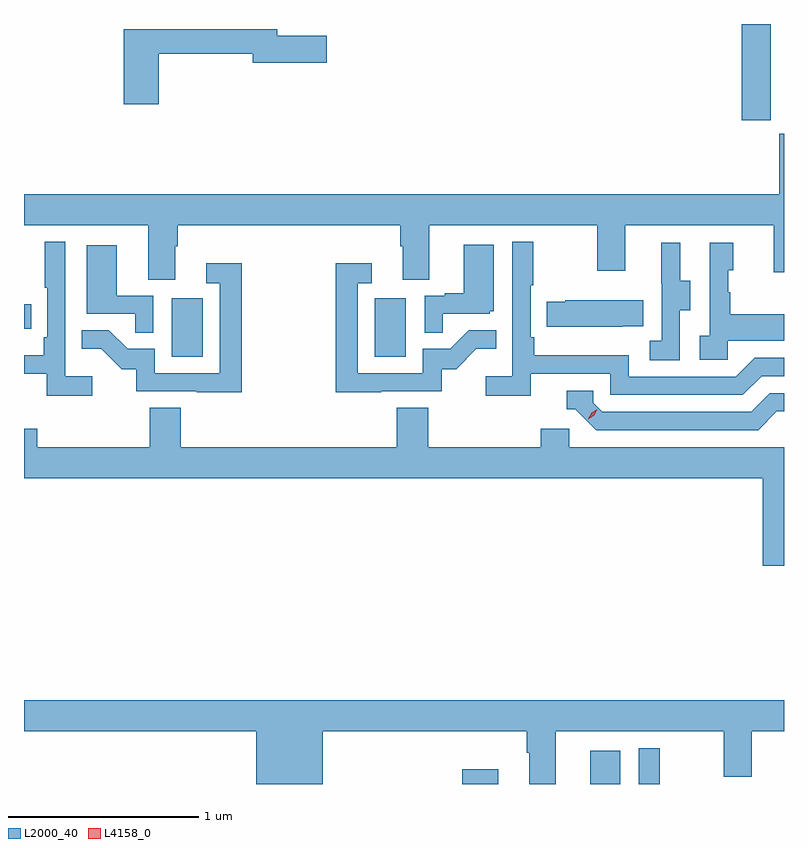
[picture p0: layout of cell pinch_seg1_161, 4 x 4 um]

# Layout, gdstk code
import gdstk
lib = gdstk.Library(unit=1e-6, precision=1e-09)
def R(c, l, rs):  # rectangles x0, y0, x1, y1
    for r in rs: c.add(gdstk.rectangle(r[:2], r[2:], *l))
def P(c, l, *ps):  # polygons
    for p in ps: c.add(gdstk.Polygon(p, *l))
L2000_40 = (2000, 40)
L4158_0 = (4158, 0)

pinch_seg1_161 = lib.new_cell('pinch_seg1_161')
R(pinch_seg1_161, L2000_40, [(1109.281,544.795,1109.47,544.873), (1109.954,544.795,1110.112,544.969), (1110.21,544.795,1110.319,544.984), (1107.752,547.044,1107.916,547.351), (1108.82,547.044,1108.984,547.351), (1106.974,547.191,1107.011,547.32), (1110.752,548.289,1110.904,548.795)])
P(pinch_seg1_161, L2000_40, [(1107.683,548.638),(1108.178,548.638),(1108.178,548.591),(1108.567,548.591),(1108.567,548.733),(1108.306,548.733),(1108.306,548.767),(1107.5,548.767),(1107.5,548.373),(1107.683,548.373)],
  [(1107.769,547.624),(1107.782,547.624),(1107.782,547.736),(1108.955,547.736),(1108.955,547.624),(1108.967,547.624),(1108.967,547.45),(1109.107,547.45),(1109.107,547.736),(1109.992,547.736),(1109.992,547.497),(1110.139,547.497),(1110.139,547.736),(1110.92,547.736),(1110.92,547.488),(1110.974,547.488),(1110.974,548.217),(1110.95,548.217),(1110.95,547.9),(1106.974,547.9),(1106.974,547.736),(1107.629,547.736),(1107.629,547.45),(1107.769,547.45)],
  [(1107.334,546.94),(1107.192,546.94),(1107.192,547.648),(1107.084,547.648),(1107.084,547.408),(1107.096,547.408),(1107.096,547.147),(1107.079,547.147),(1107.079,547.051),(1106.974,547.051),(1106.974,546.954),(1107.095,546.954),(1107.095,546.838),(1107.334,546.838)],
  [(1109.642,546.954),(1110.06,546.954),(1110.06,546.843),(1110.757,546.843),(1110.856,546.942),(1110.974,546.942),(1110.974,547.038),(1110.819,547.038),(1110.72,546.939),(1110.156,546.939),(1110.156,547.051),(1109.66,547.051),(1109.66,547.147),(1109.64,547.147),(1109.64,547.42),(1109.653,547.42),(1109.653,547.648),(1109.544,547.648),(1109.544,546.94),(1109.403,546.94),(1109.403,546.838),(1109.642,546.838)],
  [(1110.678,547.127),(1110.974,547.127),(1110.974,547.267),(1110.691,547.267),(1110.691,547.382),(1110.681,547.382),(1110.681,547.5),(1110.706,547.5),(1110.706,547.645),(1110.582,547.645),(1110.582,547.154),(1110.531,547.154),(1110.531,547.029),(1110.678,547.029)],
  [(1110.426,547.288),(1110.481,547.288),(1110.481,547.443),(1110.427,547.443),(1110.427,547.645),(1110.329,547.645),(1110.329,547.431),(1110.33,547.431),(1110.33,547.127),(1110.267,547.127),(1110.267,547.024),(1110.426,547.024)],
  [(1109.177,547.269),(1109.424,547.269),(1109.424,547.284),(1109.446,547.284),(1109.446,547.633),(1109.288,547.633),(1109.288,547.378),(1109.189,547.378),(1109.189,547.365),(1109.082,547.365),(1109.082,547.171),(1109.177,547.171)],
  [(1107.654,547.365),(1107.463,547.365),(1107.463,547.63),(1107.305,547.63),(1107.305,547.269),(1107.559,547.269),(1107.559,547.171),(1107.654,547.171)],
  [(1108.853,546.861),(1109.172,546.861),(1109.172,546.978),(1109.248,546.978),(1109.355,547.085),(1109.459,547.085),(1109.459,547.184),(1109.315,547.184),(1109.217,547.086),(1109.073,547.086),(1109.073,546.957),(1108.731,546.957),(1108.731,547.431),(1108.804,547.431),(1108.804,547.537),(1108.615,547.537),(1108.615,546.856),(1108.853,546.856)],
  [(1108.121,547.537),(1107.933,547.537),(1107.933,547.431),(1108.005,547.431),(1108.005,546.957),(1107.663,546.957),(1107.663,547.086),(1107.519,547.086),(1107.421,547.184),(1107.277,547.184),(1107.277,547.085),(1107.381,547.085),(1107.488,546.978),(1107.565,546.978),(1107.565,546.861),(1107.883,546.861),(1107.883,546.856),(1108.121,546.856)],
  [(1110.125,547.205),(1110.233,547.205),(1110.233,547.342),(1109.823,547.342),(1109.823,547.332),(1109.725,547.332),(1109.725,547.202),(1110.125,547.202)],
  [(1110.937,546.756),(1110.974,546.756),(1110.974,546.852),(1110.9,546.852),(1110.801,546.753),(1110.018,546.753),(1109.97,546.801),(1109.97,546.864),(1109.831,546.864),(1109.831,546.768),(1109.874,546.768),(1109.985,546.657),(1110.838,546.657)],
  [(1110.974,546.568),(1109.844,546.568),(1109.844,546.666),(1109.693,546.666),(1109.693,546.568),(1109.102,546.568),(1109.102,546.776),(1108.937,546.776),(1108.937,546.568),(1107.8,546.568),(1107.8,546.776),(1107.635,546.776),(1107.635,546.568),(1107.044,546.568),(1107.044,546.666),(1106.974,546.666),(1106.974,546.404),(1110.863,546.404),(1110.863,545.943),(1110.974,545.943)],
  [(1108.546,545.072),(1109.621,545.072),(1109.621,544.96),(1109.633,544.96),(1109.633,544.795),(1109.773,544.795),(1109.773,545.072),(1110.658,545.072),(1110.658,544.833),(1110.805,544.833),(1110.805,545.072),(1110.974,545.072),(1110.974,545.236),(1106.974,545.236),(1106.974,545.072),(1108.196,545.072),(1108.196,544.795),(1108.546,544.795)])
P(pinch_seg1_161, L4158_0, [(1109.945,546.716),(1109.945,546.717),(1109.961,546.749),(1109.992,546.768),(1109.992,546.768),(1109.992,546.768),(1109.976,546.736),(1109.945,546.716)])

lib.write_gds('pinch_seg1_161.gds')
